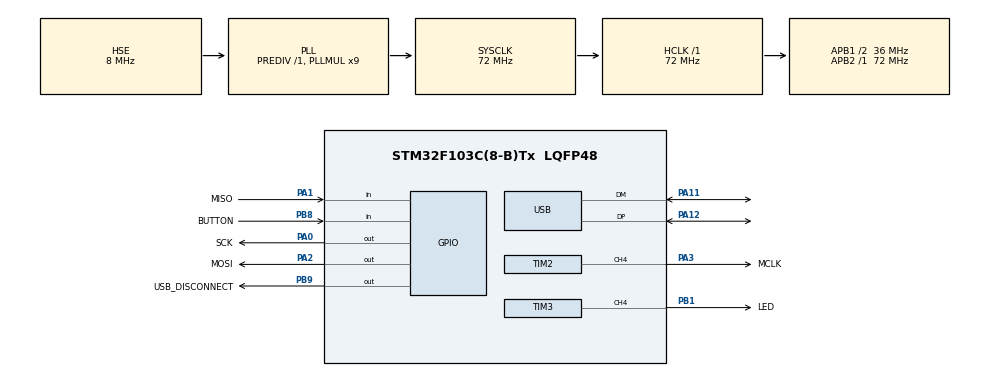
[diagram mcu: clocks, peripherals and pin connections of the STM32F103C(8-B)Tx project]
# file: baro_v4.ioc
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Mcu.Family=STM32F1
Mcu.Name=STM32F103C(8-B)Tx
Mcu.Package=LQFP48
NVIC.PriorityGroup=NVIC_PRIORITYGROUP_4
NVIC.USB_LP_CAN1_RX0_IRQn=true\:0\:0\:false
PA0-WKUP.GPIO_Label=SCK
PA0-WKUP.Signal=GPIO_Output
PA1.GPIO_Label=MISO
PA1.Signal=GPIO_Input
PA11.Mode=Device
PA11.Signal=USB_DM
PA12.Mode=Device
PA12.Signal=USB_DP
PA13.Mode=Serial_Wire
PA13.Signal=SYS_JTMS-SWDIO
PA14.Mode=Serial_Wire
PA14.Signal=SYS_JTCK-SWCLK
PA2.GPIO_Label=MOSI
PA2.Signal=GPIO_Output
PA3.GPIO_Label=MCLK
PA3.Signal=S_TIM2_CH4
PB1.GPIO_Label=LED
PB1.Signal=S_TIM3_CH4
PB8.GPIO_Label=BUTTON
PB8.GPIO_PuPd=GPIO_PULLDOWN
PB8.Signal=GPIO_Input
PB9.GPIO_Label=USB_DISCONNECT
PB9.Signal=GPIO_Output
PD0-OSC_IN.Mode=HSE-External-Oscillator
PD0-OSC_IN.Signal=RCC_OSC_IN
PD1-OSC_OUT.Mode=HSE-External-Oscillator
PD1-OSC_OUT.Signal=RCC_OSC_OUT
ProjectManager.TargetToolchain=MDK-ARM V5
RCC.AHBFreq_Value=72000000
RCC.APB1CLKDivider=RCC_HCLK_DIV2
RCC.APB1Freq_Value=36000000
RCC.APB1TimFreq_Value=72000000
RCC.APB2Freq_Value=72000000
RCC.APB2TimFreq_Value=72000000
RCC.HCLKFreq_Value=72000000
RCC.HSIState=RCC_HSI_ON
RCC.PLLMUL=RCC_PLL_MUL9
RCC.SYSCLKFreq_VALUE=72000000
RCC.SYSCLKSource=RCC_SYSCLKSOURCE_PLLCLK
RCC.USBFreq_Value=48000000
RCC.USBPrescaler=RCC_USBPLLCLK_DIV1_5
SH.S_TIM2_CH4.0=TIM2_CH4,PWM Generation4 CH4
SH.S_TIM3_CH4.0=TIM3_CH4,PWM Generation4 CH4
TIM2.Channel-PWM\ Generation4\ CH4=TIM_CHANNEL_4
TIM2.Period=1
TIM2.Prescaler=125
TIM2.Pulse-PWM\ Generation4\ CH4=1
TIM3.Channel-PWM\ Generation4\ CH4=TIM_CHANNEL_4
TIM3.ClockDivision=TIM_CLOCKDIVISION_DIV4
TIM3.Period=50
TIM3.Prescaler=60000
TIM3.Pulse-PWM\ Generation4\ CH4=40
USB_DEVICE.MANUFACTURER_STRING=http\://elmot.xyz/
USB_DEVICE.PRODUCT_STRING_MSC_FS=BaroLogger V3
USB_DEVICE.USBD_HandleTypeDef=hUsbDeviceFS
USB_DEVICE.USBD_SUPPORT_USER_STRING=1
USB_DEVICE.VirtualMode=Msc
USB_DEVICE.VirtualModeFS=Msc_FS
VP_IWDG_VS_IWDG.Mode=IWDG_Activate
VP_TIM2_VS_ClockSourceINT.Mode=Internal
VP_TIM3_VS_ClockSourceINT.Mode=Internal
VP_USB_DEVICE_VS_USB_DEVICE_MSC_FS.Mode=MSC_FS
board=baro_v4

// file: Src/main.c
/**
  ******************************************************************************
  * File Name          : main.c
  * Description        : Main program body
  ******************************************************************************
  *
  * COPYRIGHT(c) 2015 STMicroelectronics
  *
  * Redistribution and use in source and binary forms, with or without modification,
  * are permitted provided that the following conditions are met:
  *   1. Redistributions of source code must retain the above copyright notice,
  *      this list of conditions and the following disclaimer.
  *   2. Redistributions in binary form must reproduce the above copyright notice,
  *      this list of conditions and the following disclaimer in the documentation
  *      and/or other materials provided with the distribution.
  *   3. Neither the name of STMicroelectronics nor the names of its contributors
  *      may be used to endorse or promote products derived from this software
  *      without specific prior written permission.
  *
  * THIS SOFTWARE IS PROVIDED BY THE COPYRIGHT HOLDERS AND CONTRIBUTORS "AS IS"
  * AND ANY EXPRESS OR IMPLIED WARRANTIES, INCLUDING, BUT NOT LIMITED TO, THE
  * IMPLIED WARRANTIES OF MERCHANTABILITY AND FITNESS FOR A PARTICULAR PURPOSE ARE
  * DISCLAIMED. IN NO EVENT SHALL THE COPYRIGHT HOLDER OR CONTRIBUTORS BE LIABLE
  * FOR ANY DIRECT, INDIRECT, INCIDENTAL, SPECIAL, EXEMPLARY, OR CONSEQUENTIAL
  * DAMAGES (INCLUDING, BUT NOT LIMITED TO, PROCUREMENT OF SUBSTITUTE GOODS OR
  * SERVICES; LOSS OF USE, DATA, OR PROFITS; OR BUSINESS INTERRUPTION) HOWEVER
  * CAUSED AND ON ANY THEORY OF LIABILITY, WHETHER IN CONTRACT, STRICT LIABILITY,
  * OR TORT (INCLUDING NEGLIGENCE OR OTHERWISE) ARISING IN ANY WAY OUT OF THE USE
  * OF THIS SOFTWARE, EVEN IF ADVISED OF THE POSSIBILITY OF SUCH DAMAGE.
  *
  ******************************************************************************
  */
#include "stm32f1xx_hal.h"
#include "usb_device.h"

/* USER CODE BEGIN Includes */
#include "arm_math.h"
#include "hardware.h"
#include "ms5534.h"
/* USER CODE END Includes */

IWDG_HandleTypeDef hiwdg;

TIM_HandleTypeDef htim2;
TIM_HandleTypeDef htim3;

/* USER CODE BEGIN PV */
/* Private variables ---------------------------------------------------------*/
#define USB_DETECT_TIMEOUT 3000

const RECORD MARKER_RECORD = {MARKER_TEMP,0x8000};
RECORD dataLog [MAX_RECORDS]  __attribute__((at(DATA_ADDRESS))) ;
int freeIdx = MAX_RECORDS;

static RECORD buffer [2];
uint8_t buffer_index = 0;

/* USER CODE END PV */

void SystemClock_Config(void);
static void MX_GPIO_Init(void);
static void MX_IWDG_Init(void);
static void MX_TIM2_Init(void);
static void MX_TIM3_Init(void);

/* USER CODE BEGIN PFP */
/* Private function prototypes -----------------------------------------------*/

/* USER CODE END PFP */

/* USER CODE BEGIN 0 */
bool findFirstFreeRecord()
{
	for(freeIdx = 0; freeIdx < MAX_RECORDS; freeIdx +=2) {
		if(dataLog[freeIdx].mBarsM60 == 0xFFFF && dataLog[freeIdx].tempDegC == -1)
			return true;
	}
	return false;
}

bool writeRecord(const RECORD * record)
{
	if(freeIdx >= MAX_RECORDS) return false;
	buffer[buffer_index++] = *record;
	if(buffer_index <2) return true;
	buffer_index = 0;
	// RCC_HSICmd(ENABLE); Do we need this???
	//while(RCC_GetFlagStatus(RCC_FLAG_HSIRDY) != SET);
	HAL_FLASH_Unlock();
	FLASH->CR |= FLASH_CR_PG;

	__IO uint16_t * dst = (__IO uint16_t * )& dataLog[freeIdx];
	uint16_t * src = (uint16_t * )buffer;

	for(int i = 0; i < sizeof(RECORD); i++)
	{
		dst[i] = src[i];
		FLASH_WaitForLastOperation(HAL_MAX_DELAY);
	}

	FLASH->CR &= !FLASH_CR_PG;
	HAL_FLASH_Lock();
	freeIdx += 2;
	return true;
}

/* USER CODE END 0 */

int main(void)
{

  /* MCU Configuration----------------------------------------------------------*/

  /* Reset of all peripherals, Initializes the Flash interface and the Systick. */
  HAL_Init();

  /* Configure the system clock */
  SystemClock_Config();

  /* Initialize all configured peripherals */
  MX_GPIO_Init();
  MX_IWDG_Init();
  MX_TIM2_Init();
  MX_TIM3_Init();
  MX_USB_DEVICE_Init();

  /* USER CODE BEGIN 2 */
	findFirstFreeRecord();
	BSP_LED_Init();
	//HAL_DBGMCU_EnableDBGSleepMode();//todo Remove
	while( hUsbDeviceFS.dev_state != USBD_STATE_ADDRESSED && HAL_GetTick() < USB_DETECT_TIMEOUT)
	{
		checkBtnClear();
	}
	if(hUsbDeviceFS.dev_state == USBD_STATE_ADDRESSED )
	{
		setLEDMode(LED_MSD_CONNECTED);
		int suspendTicks;
		while(1) {
			checkBtnClear();
			if(hUsbDeviceFS.dev_state == USBD_STATE_SUSPENDED) {
				if(suspendTicks == 0) { suspendTicks = HAL_GetTick();
				} else if( HAL_GetTick() - suspendTicks > USB_DETECT_TIMEOUT) HAL_NVIC_SystemReset();
			} else {
				suspendTicks = 0;
			}
		}
	}
	switchToMeasurementMode();
	writeRecord(&MARKER_RECORD);
  /* USER CODE END 2 */

  /* Infinite loop */
  /* USER CODE BEGIN WHILE */
	MS55Init();
	long t = HAL_GetTick();
  while (1)
  {
  /* USER CODE END WHILE */

  /* USER CODE BEGIN 3 */

		  while(t >= HAL_GetTick()) {
				__wfi();
			}
		  t = HAL_GetTick() + 1000;
			checkBtnClear();
			float temperature[12];
			float pressure[12];
			float temperatureA ;
			float pressureA;
			for(int  i =0; i <12; i++) {
				MS5534Measure(&temperature[i], &pressure[i]);
			}
			arm_mean_f32(temperature,12,&temperatureA);
			arm_mean_f32(pressure,12,&pressureA);
			RECORD rec;
			rec.tempDegC =  temperatureA;
			rec.mBarsM60 = pressureA * 60;
			writeRecord(&rec);
  }
  /* USER CODE END 3 */

}

/** System Clock Configuration
*/
void SystemClock_Config(void)
{

  RCC_OscInitTypeDef RCC_OscInitStruct;
  RCC_ClkInitTypeDef RCC_ClkInitStruct;
  RCC_PeriphCLKInitTypeDef PeriphClkInit;

  RCC_OscInitStruct.OscillatorType = RCC_OSCILLATORTYPE_LSI|RCC_OSCILLATORTYPE_HSE;
  RCC_OscInitStruct.HSEState = RCC_HSE_ON;
  RCC_OscInitStruct.HSEPredivValue = RCC_HSE_PREDIV_DIV1;
  RCC_OscInitStruct.LSIState = RCC_LSI_ON;
  RCC_OscInitStruct.PLL.PLLState = RCC_PLL_ON;
  RCC_OscInitStruct.PLL.PLLSource = RCC_PLLSOURCE_HSE;
  RCC_OscInitStruct.PLL.PLLMUL = RCC_PLL_MUL9;
  HAL_RCC_OscConfig(&RCC_OscInitStruct);

  RCC_ClkInitStruct.ClockType = RCC_CLOCKTYPE_SYSCLK|RCC_CLOCKTYPE_PCLK1;
  RCC_ClkInitStruct.SYSCLKSource = RCC_SYSCLKSOURCE_PLLCLK;
  RCC_ClkInitStruct.AHBCLKDivider = RCC_SYSCLK_DIV1;
  RCC_ClkInitStruct.APB1CLKDivider = RCC_HCLK_DIV2;
  RCC_ClkInitStruct.APB2CLKDivider = RCC_HCLK_DIV1;
  HAL_RCC_ClockConfig(&RCC_ClkInitStruct, FLASH_LATENCY_2);

  PeriphClkInit.PeriphClockSelection = RCC_PERIPHCLK_USB;
  PeriphClkInit.UsbClockSelection = RCC_USBPLLCLK_DIV1_5;
  HAL_RCCEx_PeriphCLKConfig(&PeriphClkInit);

  HAL_SYSTICK_Config(HAL_RCC_GetHCLKFreq()/1000);

  HAL_SYSTICK_CLKSourceConfig(SYSTICK_CLKSOURCE_HCLK);

  /* SysTick_IRQn interrupt configuration */
  HAL_NVIC_SetPriority(SysTick_IRQn, 0, 0);
}

/* IWDG init function */
void MX_IWDG_Init(void)
{

  hiwdg.Instance = IWDG;
  hiwdg.Init.Prescaler = IWDG_PRESCALER_4;
  hiwdg.Init.Reload = 4095;
  HAL_IWDG_Init(&hiwdg);

}

/* TIM2 init function */
void MX_TIM2_Init(void)
{

  TIM_ClockConfigTypeDef sClockSourceConfig;
  TIM_MasterConfigTypeDef sMasterConfig;
  TIM_OC_InitTypeDef sConfigOC;

  htim2.Instance = TIM2;
  htim2.Init.Prescaler = 125;
  htim2.Init.CounterMode = TIM_COUNTERMODE_UP;
  htim2.Init.Period = 1;
  htim2.Init.ClockDivision = TIM_CLOCKDIVISION_DIV1;
  HAL_TIM_Base_Init(&htim2);

  sClockSourceConfig.ClockSource = TIM_CLOCKSOURCE_INTERNAL;
  HAL_TIM_ConfigClockSource(&htim2, &sClockSourceConfig);

  HAL_TIM_PWM_Init(&htim2);

  sMasterConfig.MasterOutputTrigger = TIM_TRGO_RESET;
  sMasterConfig.MasterSlaveMode = TIM_MASTERSLAVEMODE_DISABLE;
  HAL_TIMEx_MasterConfigSynchronization(&htim2, &sMasterConfig);

  sConfigOC.OCMode = TIM_OCMODE_PWM1;
  sConfigOC.Pulse = 1;
  sConfigOC.OCPolarity = TIM_OCPOLARITY_HIGH;
  sConfigOC.OCFastMode = TIM_OCFAST_DISABLE;
  HAL_TIM_PWM_ConfigChannel(&htim2, &sConfigOC, TIM_CHANNEL_4);

}

/* TIM3 init function */
void MX_TIM3_Init(void)
{

  TIM_ClockConfigTypeDef sClockSourceConfig;
  TIM_MasterConfigTypeDef sMasterConfig;
  TIM_OC_InitTypeDef sConfigOC;

  htim3.Instance = TIM3;
  htim3.Init.Prescaler = 60000;
  htim3.Init.CounterMode = TIM_COUNTERMODE_UP;
  htim3.Init.Period = 50;
  htim3.Init.ClockDivision = TIM_CLOCKDIVISION_DIV4;
  HAL_TIM_Base_Init(&htim3);

  sClockSourceConfig.ClockSource = TIM_CLOCKSOURCE_INTERNAL;
  HAL_TIM_ConfigClockSource(&htim3, &sClockSourceConfig);

  HAL_TIM_PWM_Init(&htim3);

  sMasterConfig.MasterOutputTrigger = TIM_TRGO_RESET;
  sMasterConfig.MasterSlaveMode = TIM_MASTERSLAVEMODE_DISABLE;
  HAL_TIMEx_MasterConfigSynchronization(&htim3, &sMasterConfig);

  sConfigOC.OCMode = TIM_OCMODE_PWM1;
  sConfigOC.Pulse = 40;
  sConfigOC.OCPolarity = TIM_OCPOLARITY_HIGH;
  sConfigOC.OCFastMode = TIM_OCFAST_DISABLE;
  HAL_TIM_PWM_ConfigChannel(&htim3, &sConfigOC, TIM_CHANNEL_4);

}

/** Configure pins as
        * Analog
        * Input
        * Output
        * EVENT_OUT
        * EXTI
*/
void MX_GPIO_Init(void)
{

  GPIO_InitTypeDef GPIO_InitStruct;

  /* GPIO Ports Clock Enable */
  __GPIOD_CLK_ENABLE();
  __GPIOA_CLK_ENABLE();
  __GPIOB_CLK_ENABLE();

  /*Configure GPIO pins : SCK_Pin MOSI_Pin */
  GPIO_InitStruct.Pin = SCK_Pin|MOSI_Pin;
  GPIO_InitStruct.Mode = GPIO_MODE_OUTPUT_PP;
  GPIO_InitStruct.Speed = GPIO_SPEED_LOW;
  HAL_GPIO_Init(GPIOA, &GPIO_InitStruct);

  /*Configure GPIO pin : MISO_Pin */
  GPIO_InitStruct.Pin = MISO_Pin;
  GPIO_InitStruct.Mode = GPIO_MODE_INPUT;
  GPIO_InitStruct.Pull = GPIO_NOPULL;
  HAL_GPIO_Init(MISO_GPIO_Port, &GPIO_InitStruct);

  /*Configure GPIO pin : BUTTON_Pin */
  GPIO_InitStruct.Pin = BUTTON_Pin;
  GPIO_InitStruct.Mode = GPIO_MODE_INPUT;
  GPIO_InitStruct.Pull = GPIO_PULLDOWN;
  HAL_GPIO_Init(BUTTON_GPIO_Port, &GPIO_InitStruct);

  /*Configure GPIO pin : USB_DISCONNECT_Pin */
  GPIO_InitStruct.Pin = USB_DISCONNECT_Pin;
  GPIO_InitStruct.Mode = GPIO_MODE_OUTPUT_PP;
  GPIO_InitStruct.Speed = GPIO_SPEED_LOW;
  HAL_GPIO_Init(USB_DISCONNECT_GPIO_Port, &GPIO_InitStruct);

}

/************************ (C) COPYRIGHT STMicroelectronics *****END OF FILE****/
